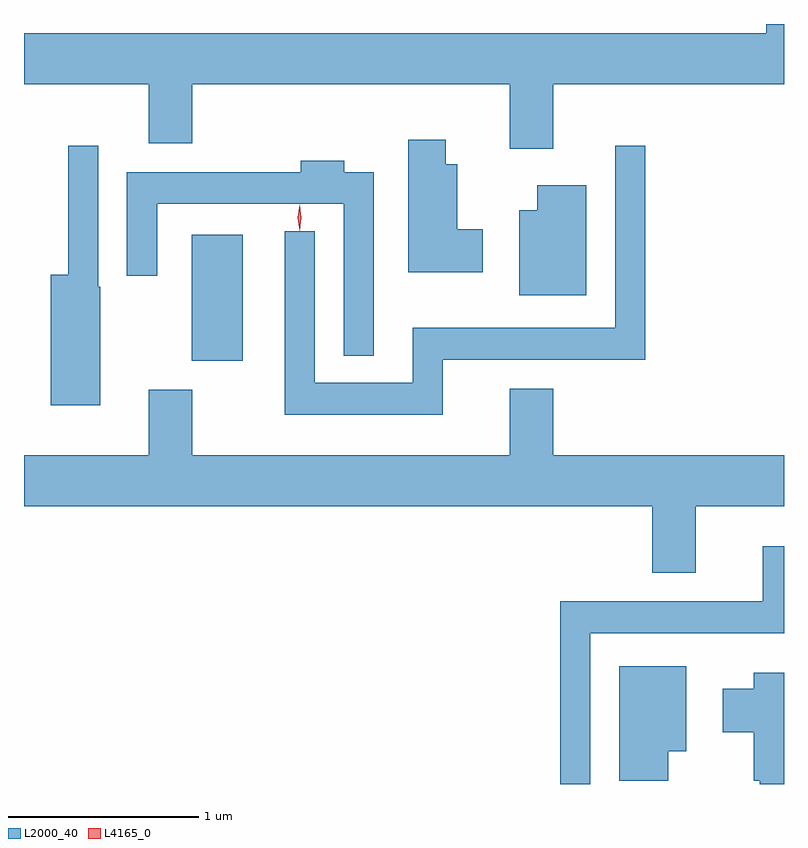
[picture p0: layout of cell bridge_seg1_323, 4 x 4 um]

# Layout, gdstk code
import gdstk
lib = gdstk.Library(unit=1e-6, precision=1e-09)
def R(c, l, rs):  # rectangles x0, y0, x1, y1
    for r in rs: c.add(gdstk.rectangle(r[:2], r[2:], *l))
def P(c, l, *ps):  # polygons
    for p in ps: c.add(gdstk.Polygon(p, *l))
L2000_40 = (2000, 40)
L4165_0 = (4165, 0)

bridge_seg1_323 = lib.new_cell('bridge_seg1_323')
R(bridge_seg1_323, L2000_40, [(910.496,884.801,910.764,885.464)])
P(bridge_seg1_323, L2000_40, [(912.399,886.256),(913.614,886.256),(913.614,886.573),(913.521,886.573),(913.521,886.524),(909.614,886.524),(909.614,886.256),(910.271,886.256),(910.271,885.946),(910.499,885.946),(910.499,886.256),(912.171,886.256),(912.171,885.916),(912.399,885.916)],
  [(912.029,885.494),(911.894,885.494),(911.894,885.834),(911.834,885.834),(911.834,885.964),(911.636,885.964),(911.636,885.266),(912.029,885.266)],
  [(910.014,885.19),(910.004,885.19),(910.004,885.933),(909.846,885.933),(909.846,885.254),(909.756,885.254),(909.756,884.566),(910.014,884.566)],
  [(911.819,884.806),(912.884,884.806),(912.884,885.933),(912.726,885.933),(912.726,884.974),(911.661,884.974),(911.661,884.684),(911.144,884.684),(911.144,885.483),(910.986,885.483),(910.986,884.516),(911.819,884.516)],
  [(911.454,885.794),(911.299,885.794),(911.299,885.854),(911.071,885.854),(911.071,885.794),(910.156,885.794),(910.156,885.248),(910.314,885.248),(910.314,885.626),(911.296,885.626),(911.296,884.828),(911.454,884.828)],
  [(912.574,885.724),(912.316,885.724),(912.316,885.594),(912.221,885.594),(912.221,885.146),(912.574,885.146)],
  [(913.149,884.036),(913.614,884.036),(913.614,884.304),(912.399,884.304),(912.399,884.654),(912.171,884.654),(912.171,884.304),(910.499,884.304),(910.499,884.649),(910.271,884.649),(910.271,884.304),(909.614,884.304),(909.614,884.036),(912.921,884.036),(912.921,883.686),(913.149,883.686)],
  [(912.594,883.366),(913.614,883.366),(913.614,883.824),(913.501,883.824),(913.501,883.534),(912.436,883.534),(912.436,882.573),(912.594,882.573)],
  [(913.004,882.746),(913.099,882.746),(913.099,883.194),(912.746,883.194),(912.746,882.591),(913.004,882.591)],
  [(913.614,883.159),(913.456,883.159),(913.456,883.074),(913.291,883.074),(913.291,882.846),(913.456,882.846),(913.456,882.591),(913.486,882.591),(913.486,882.573),(913.614,882.573)])
P(bridge_seg1_323, L4165_0, [(911.064,885.484),(911.064,885.484),(911.054,885.553),(911.064,885.622),(911.064,885.623),(911.065,885.622),(911.074,885.553),(911.065,885.484)])

lib.write_gds('bridge_seg1_323.gds')
